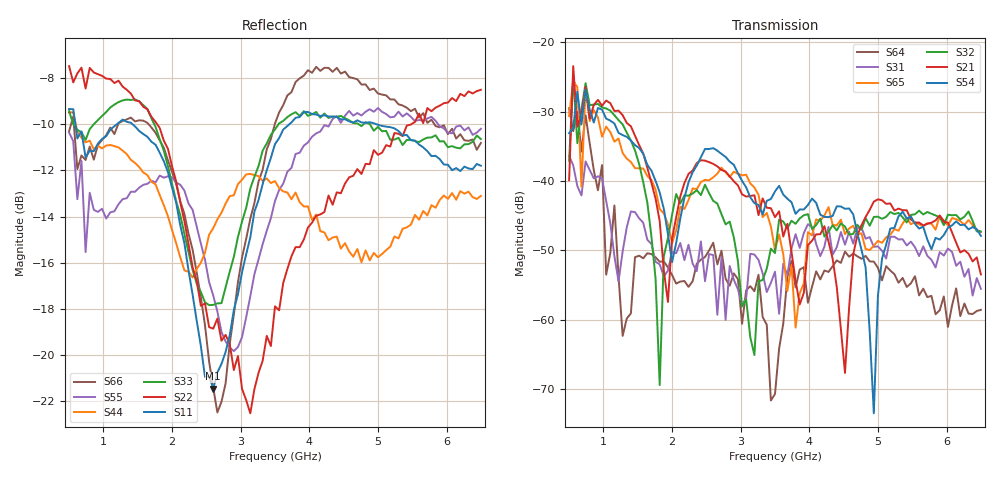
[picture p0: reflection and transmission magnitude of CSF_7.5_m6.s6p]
!Keysight Technologies,M9804A,MY58100912,A.14.10.03
!Date: Thursday, April 27, 2023 10:28:33
!Correction: S11(C  6-Port  )
!S12(C  6-Port  )
!S13(C  6-Port  )
!S14(C  6-Port  )
!S15(C  6-Port  )
!S16(C  6-Port  )
!S21(C  6-Port  )
!S22(C  6-Port  )
!S23(C  6-Port  )
!S24(C  6-Port  )
!S25(C  6-Port  )
!S26(C  6-Port  )
!S31(C  6-Port  )
!S32(C  6-Port  )
!S33(C  6-Port  )
!S34(C  6-Port  )
!S35(C  6-Port  )
!S36(C  6-Port  )
!S41(C  6-Port  )
!S42(C  6-Port  )
!S43(C  6-Port  )
!S44(C  6-Port  )
!S45(C  6-Port  )
!S46(C  6-Port  )
!S51(C  6-Port  )
!S52(C  6-Port  )
!S53(C  6-Port  )
!S54(C  6-Port  )
!S55(C  6-Port  )
!S56(C  6-Port  )
!S61(C  6-Port  )
!S62(C  6-Port  )
!S63(C  6-Port  )
!S64(C  6-Port  )
!S65(C  6-Port  )
!S66(C  6-Port  )
!S6P File: Measurement: :
# Hz S  RI  R 50
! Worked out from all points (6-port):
!   101 points, 500 MHz to 6.5 GHz, reference 50 ohm
!   strongest paths, dB at 500 MHz, 2 GHz, 3.5 GHz, 5 GHz, 6.5 GHz:
!     S54: -33.1, -51.7, -41.5, -56.5, -47.9
!     S21: -39.9, -48.4, -45.2, -42.7, -53.5
!     S32: -37.1, -44.9, -50.4, -45.2, -47.3
!     S65: -30.6, -49.0, -50.0, -48.6, -47.3
!     S31: -36.4, -50.3, -53.1, -49.4, -55.6
!     S64: -29.5, -53.6, -70.7, -52.5, -58.6
!   lowest |S11| = -21.4 dB at 2.6 GHz (marker M1), VSWR 1.18, Z = 42.5 + j2.18 ohm
!   |S11| at or under -10 dB: 590.6 MHz to 1.198 GHz (607.8 MHz wide, 67.9 % of centre); 1.422 GHz to 3.712 GHz (2.29 GHz wide, 89.2 % of centre); 4.971 GHz to end of sweep
